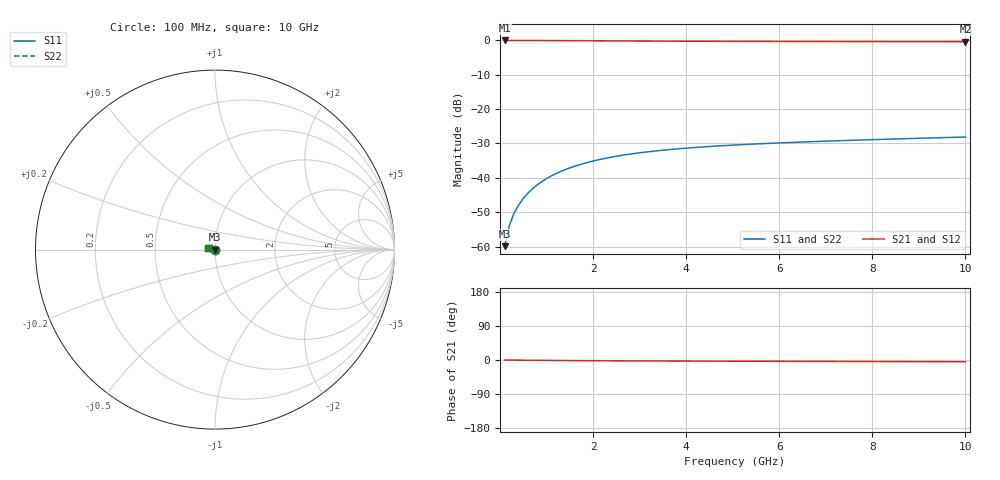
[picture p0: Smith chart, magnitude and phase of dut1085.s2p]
! Touchstone file exported from HFSS 2024.1.0
!  File:  C:/UserFiles/LocalFiles/RDL_TSV_Batchsim/temp_TSV1_1085_1780065925.aedt
!  Generated:  10:50:11 PM May 29, 2026
!  Design:  TSV1
!  Project:  temp_TSV1_1085_1780065925
!  Setup:  Setup1
!  Solution:  Sweep
! Variables:
!  dtsv = 9.99um
!  hbump = 3um
!  htsv = 69.22um
!  lrdl = 252.1521522um
!  p = 40
!  p1 = 56.77um
!  t = 500um
!  trdl = 3um
!  wrdl = 24.89489489um
# GHz S MA R 50.000000
! Terminal data exported
! Port[1] = TSV22_T1
! Port[2] = TSV22_T2
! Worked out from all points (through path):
!   100 points, 100 MHz to 10 GHz, reference 50 ohm
!   highest |S21| = 0.00 dB at 100 MHz (marker M1); lowest = -0.4 dB at 10 GHz (marker M2)
!   lowest |S11| = -59.9 dB at 100 MHz (marker M3), VSWR 1.00, Z = 50 - j0.101 ohm
!   |S11| at or under -10 dB: start of sweep to end of sweep
!   |S22| runs from -59.9 to -28.1 dB; largest |S21 - S12| = 5.6e-15
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0.1  0.001012 -84.6  0.9998 -0.1  0.9998 -0.1  0.001012 -84.6
! Gamma 0 0 0 0
! Port Impedance 50 0 50 0
0.2  0.002012 -90.2  0.9997 -0.2  0.9997 -0.2  0.002012 -90.2
0.3  0.003014 -93.5  0.9995 -0.3  0.9995 -0.3  0.003014 -93.5
0.4  0.004012 -96.1  0.9992 -0.4  0.9992 -0.4  0.004012 -96.1
0.5  0.005001 -98.6  0.9989 -0.6  0.9989 -0.6  0.005001 -98.6
0.6  0.005978 -100.9  0.9985 -0.7  0.9985 -0.7  0.005978 -100.9
0.7  0.006941 -103.1  0.998 -0.8  0.998 -0.8  0.006941 -103.1
0.8  0.007888 -105.3  0.9975 -0.9  0.9975 -0.9  0.007888 -105.3
0.9  0.008817 -107.4  0.997 -1.0  0.997 -1.0  0.008817 -107.4
1.1  0.01061 -111.4  0.9957 -1.2  0.9957 -1.2  0.01061 -111.4
1.4  0.01314 -117.2  0.9936 -1.4  0.9936 -1.4  0.01314 -117.2
1.6  0.01471 -120.9  0.992 -1.6  0.992 -1.6  0.01471 -120.9
1.8  0.01618 -124.4  0.9904 -1.7  0.9904 -1.7  0.01618 -124.4
2.1  0.01821 -129.4  0.988 -1.9  0.988 -1.9  0.01821 -129.4
2.5  0.0206 -135.6  0.9849 -2.2  0.9849 -2.2  0.0206 -135.6
2.9  0.02266 -141.2  0.9819 -2.4  0.9819 -2.4  0.02266 -141.2
3.4  0.02485 -147.6  0.9785 -2.6  0.9785 -2.6  0.02485 -147.6
4.2  0.02767 -156.5  0.974 -2.9  0.974 -2.9  0.02767 -156.5
5.1  0.03017 -165.0  0.97 -3.2  0.97 -3.2  0.03017 -165.0
6.7  0.03361 -177.3  0.9652 -3.6  0.9652 -3.6  0.03361 -177.3
8.4  0.03663 172.2  0.9618 -4.2  0.9618 -4.2  0.03663 172.2
10  0.03926 164.0  0.9597 -4.7  0.9597 -4.7  0.03926 164.0
